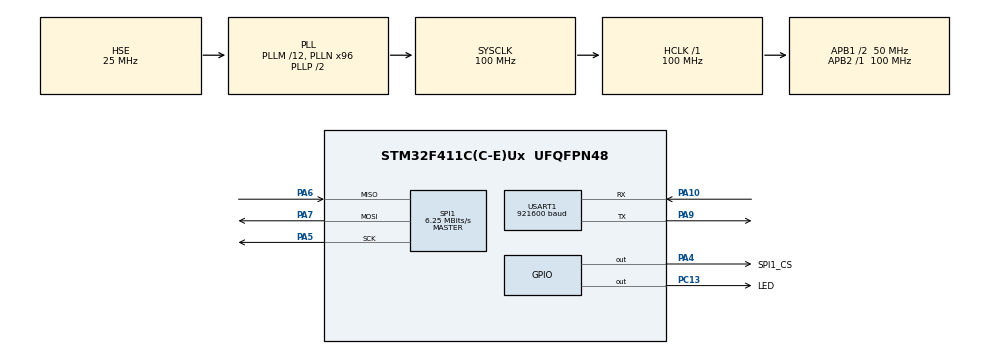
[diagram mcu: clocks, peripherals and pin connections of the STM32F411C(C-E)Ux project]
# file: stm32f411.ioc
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Mcu.Family=STM32F4
Mcu.Name=STM32F411C(C-E)Ux
Mcu.Package=UFQFPN48
NVIC.PriorityGroup=NVIC_PRIORITYGROUP_4
PA10.Mode=Asynchronous
PA10.Signal=USART1_RX
PA13.Mode=Serial_Wire
PA13.Signal=SYS_JTMS-SWDIO
PA14.Mode=Serial_Wire
PA14.Signal=SYS_JTCK-SWCLK
PA4.GPIO_Label=SPI1_CS
PA4.Signal=GPIO_Output
PA5.Mode=Full_Duplex_Master
PA5.Signal=SPI1_SCK
PA6.Mode=Full_Duplex_Master
PA6.Signal=SPI1_MISO
PA7.Mode=Full_Duplex_Master
PA7.Signal=SPI1_MOSI
PA9.Mode=Asynchronous
PA9.Signal=USART1_TX
PC13-ANTI_TAMP.GPIO_Label=LED
PC13-ANTI_TAMP.GPIO_ModeDefaultOutputPP=GPIO_MODE_OUTPUT_OD
PC13-ANTI_TAMP.GPIO_PuPd=GPIO_NOPULL
PC13-ANTI_TAMP.PinState=GPIO_PIN_SET
PC13-ANTI_TAMP.Signal=GPIO_Output
PH0\ -\ OSC_IN.Mode=HSE-External-Oscillator
PH0\ -\ OSC_IN.Signal=RCC_OSC_IN
PH1\ -\ OSC_OUT.Mode=HSE-External-Oscillator
PH1\ -\ OSC_OUT.Signal=RCC_OSC_OUT
ProjectManager.HeapSize=0x200
ProjectManager.StackSize=0x400
ProjectManager.TargetToolchain=STM32CubeIDE
RCC.48MHZClocksFreq_Value=50000000
RCC.AHBFreq_Value=100000000
RCC.APB1CLKDivider=RCC_HCLK_DIV2
RCC.APB1Freq_Value=50000000
RCC.APB1TimFreq_Value=100000000
RCC.APB2Freq_Value=100000000
RCC.APB2TimFreq_Value=100000000
RCC.CortexFreq_Value=100000000
RCC.HCLKFreq_Value=100000000
RCC.HSE_VALUE=25000000
RCC.HSI_VALUE=16000000
RCC.LSE_VALUE=32768
RCC.PLLM=12
RCC.PLLN=96
RCC.PLLSourceVirtual=RCC_PLLSOURCE_HSE
RCC.SYSCLKFreq_VALUE=100000000
RCC.SYSCLKSource=RCC_SYSCLKSOURCE_PLLCLK
RCC.VCOOutputFreq_Value=200000000
SPI1.BaudRatePrescaler=SPI_BAUDRATEPRESCALER_16
SPI1.CLKPolarity=SPI_POLARITY_LOW
SPI1.CalculateBaudRate=6.25 MBits/s
SPI1.Direction=SPI_DIRECTION_2LINES
SPI1.Mode=SPI_MODE_MASTER
SPI1.VirtualType=VM_MASTER
USART1.BaudRate=921600
USART1.VirtualMode=VM_ASYNC
board=custom

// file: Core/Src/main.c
/* USER CODE BEGIN Header */
/**
  ******************************************************************************
  * @file           : main.c
  * @brief          : Main program body
  ******************************************************************************
  * @attention
  *
  * Copyright (c) 2022 Lars Boegild Thomsen <lbthomsen@gmail.com>.
  * All rights reserved.
  *
  * This software is licensed under terms that can be found in the LICENSE file
  * in the root directory of this software component.
  * If no LICENSE file comes with this software, it is provided AS-IS.
  *
  ******************************************************************************
  */
/* USER CODE END Header */
#include "main.h"

/* USER CODE BEGIN Includes */
#include <stdio.h>
#include "max72xx.h"
/* USER CODE END Includes */

/* USER CODE BEGIN PD */
#define DISPLAY_DIGITS 8
/* USER CODE END PD */

 SPI_HandleTypeDef hspi1;

UART_HandleTypeDef huart1;

/* USER CODE BEGIN PV */
MAX72XX_HandleTypeDef max72xx;
/* USER CODE END PV */

void SystemClock_Config(void);
static void MX_GPIO_Init(void);
static void MX_SPI1_Init(void);
static void MX_USART1_UART_Init(void);

/* USER CODE BEGIN 0 */

// Send printf to uart1
int _write(int fd, char* ptr, int len) {
  HAL_StatusTypeDef hstatus;

  if (fd == 1 || fd == 2) {
    hstatus = HAL_UART_Transmit(&huart1, (uint8_t *) ptr, len, HAL_MAX_DELAY);
    if (hstatus == HAL_OK)
      return len;
    else
      return -1;
  }
  return -1;
}

/* USER CODE END 0 */

int main(void)
{

  /* MCU Configuration--------------------------------------------------------*/

  /* Reset of all peripherals, Initializes the Flash interface and the Systick. */
  HAL_Init();

  /* Configure the system clock */
  SystemClock_Config();

  /* Initialize all configured peripherals */
  MX_GPIO_Init();
  MX_SPI1_Init();
  MX_USART1_UART_Init();
  /* USER CODE BEGIN 2 */

  DBG("MCU and peripherals has been initialized");

  HAL_Delay(1000);

  if (max72xx_init(&max72xx, &hspi1, SPI1_CS_GPIO_Port, SPI1_CS_Pin) != MAX72XX_Ok) {
	  Error_Handler();
  }

  max72xx_wakeup(&max72xx);                 // By default it is not running
  max72xx_digits(&max72xx, DISPLAY_DIGITS); // Number of digits to be displayed: 1-8
  max72xx_intensity(&max72xx, 0x3);         // Intensity MUST be set after the digits
  max72xx_decode(&max72xx, 0b00000000);     // Disable the built-in number font use our own

  /* USER CODE END 2 */

  /* Infinite loop */
  /* USER CODE BEGIN WHILE */

  uint32_t now = 0, last_blink = 0, last_tick = 0, last_display = 0;

  while (1)
  {

	  now = HAL_GetTick();

	  if (now - last_display >= 11) {

		  max72xx_display_number(&max72xx, now);

		  last_display = now;
	  }

	  if (now - last_blink >= 500) {
		  HAL_GPIO_TogglePin(LED_GPIO_Port, LED_Pin);
		  last_blink = now;
	  }

	  if (now - last_tick >= 1000) {
		  DBG("Tick %lu", now / 1000);
		  last_tick = now;
	  }

    /* USER CODE END WHILE */

  }
}

void SystemClock_Config(void)
{
  RCC_OscInitTypeDef RCC_OscInitStruct = {0};
  RCC_ClkInitTypeDef RCC_ClkInitStruct = {0};

  /** Configure the main internal regulator output voltage
  */
  __HAL_RCC_PWR_CLK_ENABLE();
  __HAL_PWR_VOLTAGESCALING_CONFIG(PWR_REGULATOR_VOLTAGE_SCALE1);

  /** Initializes the RCC Oscillators according to the specified parameters
  * in the RCC_OscInitTypeDef structure.
  */
  RCC_OscInitStruct.OscillatorType = RCC_OSCILLATORTYPE_HSE;
  RCC_OscInitStruct.HSEState = RCC_HSE_ON;
  RCC_OscInitStruct.PLL.PLLState = RCC_PLL_ON;
  RCC_OscInitStruct.PLL.PLLSource = RCC_PLLSOURCE_HSE;
  RCC_OscInitStruct.PLL.PLLM = 12;
  RCC_OscInitStruct.PLL.PLLN = 96;
  RCC_OscInitStruct.PLL.PLLP = RCC_PLLP_DIV2;
  RCC_OscInitStruct.PLL.PLLQ = 4;
  if (HAL_RCC_OscConfig(&RCC_OscInitStruct) != HAL_OK)
  {
    Error_Handler();
  }

  /** Initializes the CPU, AHB and APB buses clocks
  */
  RCC_ClkInitStruct.ClockType = RCC_CLOCKTYPE_HCLK|RCC_CLOCKTYPE_SYSCLK
                              |RCC_CLOCKTYPE_PCLK1|RCC_CLOCKTYPE_PCLK2;
  RCC_ClkInitStruct.SYSCLKSource = RCC_SYSCLKSOURCE_PLLCLK;
  RCC_ClkInitStruct.AHBCLKDivider = RCC_SYSCLK_DIV1;
  RCC_ClkInitStruct.APB1CLKDivider = RCC_HCLK_DIV2;
  RCC_ClkInitStruct.APB2CLKDivider = RCC_HCLK_DIV1;

  if (HAL_RCC_ClockConfig(&RCC_ClkInitStruct, FLASH_LATENCY_3) != HAL_OK)
  {
    Error_Handler();
  }
}

static void MX_SPI1_Init(void)
{

  /* SPI1 parameter configuration*/
  hspi1.Instance = SPI1;
  hspi1.Init.Mode = SPI_MODE_MASTER;
  hspi1.Init.Direction = SPI_DIRECTION_2LINES;
  hspi1.Init.DataSize = SPI_DATASIZE_8BIT;
  hspi1.Init.CLKPolarity = SPI_POLARITY_LOW;
  hspi1.Init.CLKPhase = SPI_PHASE_1EDGE;
  hspi1.Init.NSS = SPI_NSS_SOFT;
  hspi1.Init.BaudRatePrescaler = SPI_BAUDRATEPRESCALER_16;
  hspi1.Init.FirstBit = SPI_FIRSTBIT_MSB;
  hspi1.Init.TIMode = SPI_TIMODE_DISABLE;
  hspi1.Init.CRCCalculation = SPI_CRCCALCULATION_DISABLE;
  hspi1.Init.CRCPolynomial = 10;
  if (HAL_SPI_Init(&hspi1) != HAL_OK)
  {
    Error_Handler();
  }

}

static void MX_USART1_UART_Init(void)
{

  huart1.Instance = USART1;
  huart1.Init.BaudRate = 921600;
  huart1.Init.WordLength = UART_WORDLENGTH_8B;
  huart1.Init.StopBits = UART_STOPBITS_1;
  huart1.Init.Parity = UART_PARITY_NONE;
  huart1.Init.Mode = UART_MODE_TX_RX;
  huart1.Init.HwFlowCtl = UART_HWCONTROL_NONE;
  huart1.Init.OverSampling = UART_OVERSAMPLING_16;
  if (HAL_UART_Init(&huart1) != HAL_OK)
  {
    Error_Handler();
  }

}

static void MX_GPIO_Init(void)
{
  GPIO_InitTypeDef GPIO_InitStruct = {0};

  /* GPIO Ports Clock Enable */
  __HAL_RCC_GPIOC_CLK_ENABLE();
  __HAL_RCC_GPIOH_CLK_ENABLE();
  __HAL_RCC_GPIOA_CLK_ENABLE();

  /*Configure GPIO pin Output Level */
  HAL_GPIO_WritePin(LED_GPIO_Port, LED_Pin, GPIO_PIN_SET);

  /*Configure GPIO pin Output Level */
  HAL_GPIO_WritePin(SPI1_CS_GPIO_Port, SPI1_CS_Pin, GPIO_PIN_RESET);

  /*Configure GPIO pin : LED_Pin */
  GPIO_InitStruct.Pin = LED_Pin;
  GPIO_InitStruct.Mode = GPIO_MODE_OUTPUT_OD;
  GPIO_InitStruct.Pull = GPIO_NOPULL;
  GPIO_InitStruct.Speed = GPIO_SPEED_FREQ_LOW;
  HAL_GPIO_Init(LED_GPIO_Port, &GPIO_InitStruct);

  /*Configure GPIO pin : SPI1_CS_Pin */
  GPIO_InitStruct.Pin = SPI1_CS_Pin;
  GPIO_InitStruct.Mode = GPIO_MODE_OUTPUT_PP;
  GPIO_InitStruct.Pull = GPIO_NOPULL;
  GPIO_InitStruct.Speed = GPIO_SPEED_FREQ_LOW;
  HAL_GPIO_Init(SPI1_CS_GPIO_Port, &GPIO_InitStruct);

}

void Error_Handler(void)
{
  __disable_irq();
  while (1)
  {
  }
}
